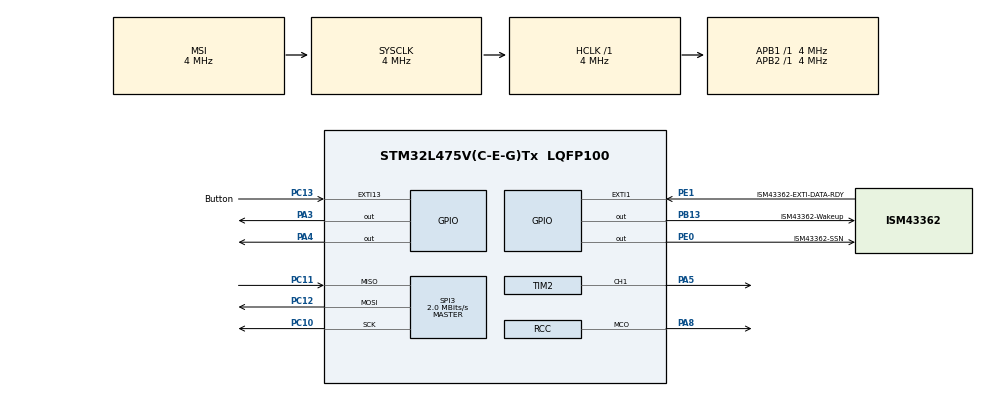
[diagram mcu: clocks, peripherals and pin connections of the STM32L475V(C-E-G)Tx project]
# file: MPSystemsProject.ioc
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Mcu.Family=STM32L4
Mcu.Name=STM32L475V(C-E-G)Tx
Mcu.Package=LQFP100
NVIC.EXTI15_10_IRQn=true\:0\:0\:false\:false\:true\:true\:true
NVIC.EXTI1_IRQn=true\:0\:0\:false\:false\:true\:true\:true
NVIC.PriorityGroup=NVIC_PRIORITYGROUP_4
PA13\ (JTMS-SWDIO).Mode=Serial_Wire
PA13\ (JTMS-SWDIO).Signal=SYS_JTMS-SWDIO
PA14\ (JTCK-SWCLK).Mode=Serial_Wire
PA14\ (JTCK-SWCLK).Signal=SYS_JTCK-SWCLK
PA3.GPIO_PuPd=GPIO_PULLUP
PA3.Signal=GPIO_Output
PA4.GPIO_PuPd=GPIO_PULLUP
PA4.Signal=GPIO_Output
PA5.Signal=S_TIM2_CH1
PA8.Mode=Clock-out
PA8.Signal=RCC_MCO
PB13.GPIO_Label=ISM43362-Wakeup
PB13.Signal=GPIO_Output
PC10.Mode=Full_Duplex_Master
PC10.Signal=SPI3_SCK
PC11.Mode=Full_Duplex_Master
PC11.Signal=SPI3_MISO
PC12.Mode=Full_Duplex_Master
PC12.Signal=SPI3_MOSI
PC13.GPIO_Label=Button
PC13.GPIO_PuPd=GPIO_PULLUP
PC13.Signal=GPXTI13
PE0.GPIO_Label=ISM43362-SSN
PE0.Signal=GPIO_Output
PE1.GPIO_Label=ISM43362-EXTI-DATA-RDY
PE1.GPIO_ModeDefaultEXTI=GPIO_MODE_IT_FALLING
PE1.Signal=GPXTI1
PH0-OSC_IN\ (PH0).Mode=HSE-External-Oscillator
PH0-OSC_IN\ (PH0).Signal=RCC_OSC_IN
PH1-OSC_OUT\ (PH1).Mode=HSE-External-Oscillator
PH1-OSC_OUT\ (PH1).Signal=RCC_OSC_OUT
ProjectManager.HeapSize=0x200
ProjectManager.StackSize=0x400
ProjectManager.TargetToolchain=STM32CubeIDE
RCC.AHBFreq_Value=4000000
RCC.APB1Freq_Value=4000000
RCC.APB1TimFreq_Value=4000000
RCC.APB2Freq_Value=4000000
RCC.APB2TimFreq_Value=4000000
RCC.CortexFreq_Value=4000000
RCC.HCLKFreq_Value=4000000
RCC.HSE_VALUE=8000000
RCC.HSI_VALUE=16000000
RCC.LSE_VALUE=32768
RCC.MSI_VALUE=4000000
RCC.SYSCLKFreq_VALUE=4000000
RCC.VCOOutputFreq_Value=32000000
SH.S_TIM2_CH1.0=TIM2_CH1,PWM Generation1 CH1
SPI3.BaudRatePrescaler=SPI_BAUDRATEPRESCALER_2
SPI3.CalculateBaudRate=2.0 MBits/s
SPI3.DataSize=SPI_DATASIZE_16BIT
SPI3.Direction=SPI_DIRECTION_2LINES
SPI3.Mode=SPI_MODE_MASTER
SPI3.VirtualType=VM_MASTER
TIM2.AutoReloadPreload=TIM_AUTORELOAD_PRELOAD_ENABLE
TIM2.Channel-PWM\ Generation1\ CH1=TIM_CHANNEL_1
TIM2.Period=39999
VP_TIM2_VS_ClockSourceINT.Mode=Internal
board=custom

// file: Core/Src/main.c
/* USER CODE BEGIN Header */
/**
  ******************************************************************************
  * @file           : main.c
  * @brief          : Main program body
  ******************************************************************************
  * @attention
  *
  * <h2><center>&copy; Copyright (c) 2020 STMicroelectronics.
  * All rights reserved.</center></h2>
  *
  * This software component is licensed by ST under BSD 3-Clause license,
  * the "License"; You may not use this file except in compliance with the
  * License. You may obtain a copy of the License at:
  *                        opensource.org/licenses/BSD-3-Clause
  *
  ******************************************************************************
  */
/* USER CODE END Header */
#include "main.h"

/* USER CODE BEGIN Includes */
#include <stdint.h>
#include "Time.h"
#include "WiFi.h"
/* USER CODE END Includes */

/* USER CODE BEGIN PD */
#define BUTTON_DEBOUNCE_TIME_MS MS(100)
/* USER CODE END PD */

SPI_HandleTypeDef hspi3;

TIM_HandleTypeDef htim2;

void SystemClock_Config(void);
static void MX_GPIO_Init(void);
static void MX_SPI3_Init(void);
static void MX_TIM2_Init(void);

/* USER CODE BEGIN 0 */
#define PWM_STEP_NUM 8
int TIM2_CH1_DC[PWM_STEP_NUM] = {1,50,70,90,99,80,60};
int pwm_step_count = 0;

/* USER CODE END 0 */

int main(void)
{

  /* MCU Configuration--------------------------------------------------------*/

  /* Reset of all peripherals, Initializes the Flash interface and the Systick. */
  HAL_Init();

  /* Configure the system clock */
  SystemClock_Config();

  /* USER CODE BEGIN SysInit */
  SysTick_Config(SystemCoreClock/SYSTEM_TICK_US_DEFINITION);
  Time_Init();
  /* USER CODE END SysInit */

  /* Initialize all configured peripherals */
  MX_GPIO_Init();
  MX_SPI3_Init();
  MX_TIM2_Init();
  /* USER CODE BEGIN 2 */
  HAL_TIM_PWM_Start(&htim2, TIM_CHANNEL_1);
  WiFi_Init(&hspi3);

  HAL_GPIO_WritePin(GPIOA, GPIO_PIN_4, GPIO_PIN_SET);
  HAL_GPIO_WritePin(GPIOA, GPIO_PIN_3, GPIO_PIN_RESET);
  Tick blink_timer = GetTime_ms();
  /* USER CODE END 2 */

  /* Infinite loop */
  /* USER CODE BEGIN WHILE */
  while (1)
  {
	  if ((GetTimeSince_ms(blink_timer))>1000)
	  {
		  HAL_GPIO_TogglePin(GPIOA, GPIO_PIN_4);
		  HAL_GPIO_TogglePin(GPIOA, GPIO_PIN_3);
		  blink_timer = GetTime_ms();
		  TIM2->CCR1 = TIM2_CH1_DC[pwm_step_count];
		  pwm_step_count++;
		  pwm_step_count %= PWM_STEP_NUM;
	  }
    /* USER CODE END WHILE */

  }
}

void SystemClock_Config(void)
{
  RCC_OscInitTypeDef RCC_OscInitStruct = {0};
  RCC_ClkInitTypeDef RCC_ClkInitStruct = {0};

  /** Initializes the RCC Oscillators according to the specified parameters
  * in the RCC_OscInitTypeDef structure.
  */
  RCC_OscInitStruct.OscillatorType = RCC_OSCILLATORTYPE_MSI;
  RCC_OscInitStruct.MSIState = RCC_MSI_ON;
  RCC_OscInitStruct.MSICalibrationValue = 0;
  RCC_OscInitStruct.MSIClockRange = RCC_MSIRANGE_6;
  RCC_OscInitStruct.PLL.PLLState = RCC_PLL_NONE;
  if (HAL_RCC_OscConfig(&RCC_OscInitStruct) != HAL_OK)
  {
    Error_Handler();
  }
  /** Initializes the CPU, AHB and APB buses clocks
  */
  RCC_ClkInitStruct.ClockType = RCC_CLOCKTYPE_HCLK|RCC_CLOCKTYPE_SYSCLK
                              |RCC_CLOCKTYPE_PCLK1|RCC_CLOCKTYPE_PCLK2;
  RCC_ClkInitStruct.SYSCLKSource = RCC_SYSCLKSOURCE_MSI;
  RCC_ClkInitStruct.AHBCLKDivider = RCC_SYSCLK_DIV1;
  RCC_ClkInitStruct.APB1CLKDivider = RCC_HCLK_DIV1;
  RCC_ClkInitStruct.APB2CLKDivider = RCC_HCLK_DIV1;

  if (HAL_RCC_ClockConfig(&RCC_ClkInitStruct, FLASH_LATENCY_0) != HAL_OK)
  {
    Error_Handler();
  }
  HAL_RCC_MCOConfig(RCC_MCO1, RCC_MCO1SOURCE_SYSCLK, RCC_MCODIV_1);
  /** Configure the main internal regulator output voltage
  */
  if (HAL_PWREx_ControlVoltageScaling(PWR_REGULATOR_VOLTAGE_SCALE1) != HAL_OK)
  {
    Error_Handler();
  }
}

static void MX_SPI3_Init(void)
{

  /* SPI3 parameter configuration*/
  hspi3.Instance = SPI3;
  hspi3.Init.Mode = SPI_MODE_MASTER;
  hspi3.Init.Direction = SPI_DIRECTION_2LINES;
  hspi3.Init.DataSize = SPI_DATASIZE_16BIT;
  hspi3.Init.CLKPolarity = SPI_POLARITY_LOW;
  hspi3.Init.CLKPhase = SPI_PHASE_1EDGE;
  hspi3.Init.NSS = SPI_NSS_SOFT;
  hspi3.Init.BaudRatePrescaler = SPI_BAUDRATEPRESCALER_2;
  hspi3.Init.FirstBit = SPI_FIRSTBIT_MSB;
  hspi3.Init.TIMode = SPI_TIMODE_DISABLE;
  hspi3.Init.CRCCalculation = SPI_CRCCALCULATION_DISABLE;
  hspi3.Init.CRCPolynomial = 7;
  hspi3.Init.CRCLength = SPI_CRC_LENGTH_DATASIZE;
  hspi3.Init.NSSPMode = SPI_NSS_PULSE_ENABLE;
  if (HAL_SPI_Init(&hspi3) != HAL_OK)
  {
    Error_Handler();
  }

}

static void MX_TIM2_Init(void)
{

  TIM_ClockConfigTypeDef sClockSourceConfig = {0};
  TIM_MasterConfigTypeDef sMasterConfig = {0};
  TIM_OC_InitTypeDef sConfigOC = {0};

  htim2.Instance = TIM2;
  htim2.Init.Prescaler = 0;
  htim2.Init.CounterMode = TIM_COUNTERMODE_UP;
  htim2.Init.Period = 400;
  htim2.Init.ClockDivision = TIM_CLOCKDIVISION_DIV1;
  htim2.Init.AutoReloadPreload = TIM_AUTORELOAD_PRELOAD_ENABLE;
  if (HAL_TIM_Base_Init(&htim2) != HAL_OK)
  {
    Error_Handler();
  }
  sClockSourceConfig.ClockSource = TIM_CLOCKSOURCE_INTERNAL;
  if (HAL_TIM_ConfigClockSource(&htim2, &sClockSourceConfig) != HAL_OK)
  {
    Error_Handler();
  }
  if (HAL_TIM_PWM_Init(&htim2) != HAL_OK)
  {
    Error_Handler();
  }
  sMasterConfig.MasterOutputTrigger = TIM_TRGO_RESET;
  sMasterConfig.MasterSlaveMode = TIM_MASTERSLAVEMODE_DISABLE;
  if (HAL_TIMEx_MasterConfigSynchronization(&htim2, &sMasterConfig) != HAL_OK)
  {
    Error_Handler();
  }
  sConfigOC.OCMode = TIM_OCMODE_PWM1;
  sConfigOC.Pulse = 0;
  sConfigOC.OCPolarity = TIM_OCPOLARITY_HIGH;
  sConfigOC.OCFastMode = TIM_OCFAST_DISABLE;
  if (HAL_TIM_PWM_ConfigChannel(&htim2, &sConfigOC, TIM_CHANNEL_1) != HAL_OK)
  {
    Error_Handler();
  }
  HAL_TIM_MspPostInit(&htim2);

}

static void MX_GPIO_Init(void)
{
  GPIO_InitTypeDef GPIO_InitStruct = {0};

  /* GPIO Ports Clock Enable */
  __HAL_RCC_GPIOE_CLK_ENABLE();
  __HAL_RCC_GPIOC_CLK_ENABLE();
  __HAL_RCC_GPIOH_CLK_ENABLE();
  __HAL_RCC_GPIOA_CLK_ENABLE();
  __HAL_RCC_GPIOB_CLK_ENABLE();
  __HAL_RCC_GPIOD_CLK_ENABLE();

  /*Configure GPIO pin Output Level */
  HAL_GPIO_WritePin(GPIOA, GPIO_PIN_3|GPIO_PIN_4, GPIO_PIN_RESET);

  /*Configure GPIO pin Output Level */
  HAL_GPIO_WritePin(ISM43362_Wakeup_GPIO_Port, ISM43362_Wakeup_Pin, GPIO_PIN_RESET);

  /*Configure GPIO pin Output Level */
  HAL_GPIO_WritePin(ISM43362_SSN_GPIO_Port, ISM43362_SSN_Pin, GPIO_PIN_RESET);

  /*Configure GPIO pins : PE2 PE3 PE4 PE5
                           PE6 PE7 PE8 PE9
                           PE10 PE11 PE12 PE13
                           PE14 PE15 */
  GPIO_InitStruct.Pin = GPIO_PIN_2|GPIO_PIN_3|GPIO_PIN_4|GPIO_PIN_5
                          |GPIO_PIN_6|GPIO_PIN_7|GPIO_PIN_8|GPIO_PIN_9
                          |GPIO_PIN_10|GPIO_PIN_11|GPIO_PIN_12|GPIO_PIN_13
                          |GPIO_PIN_14|GPIO_PIN_15;
  GPIO_InitStruct.Mode = GPIO_MODE_ANALOG;
  GPIO_InitStruct.Pull = GPIO_NOPULL;
  HAL_GPIO_Init(GPIOE, &GPIO_InitStruct);

  /*Configure GPIO pin : Button_Pin */
  GPIO_InitStruct.Pin = Button_Pin;
  GPIO_InitStruct.Mode = GPIO_MODE_IT_RISING;
  GPIO_InitStruct.Pull = GPIO_PULLUP;
  HAL_GPIO_Init(Button_GPIO_Port, &GPIO_InitStruct);

  /*Configure GPIO pins : PC14 PC15 PC0 PC1
                           PC2 PC3 PC4 PC5
                           PC6 PC7 PC8 PC9 */
  GPIO_InitStruct.Pin = GPIO_PIN_14|GPIO_PIN_15|GPIO_PIN_0|GPIO_PIN_1
                          |GPIO_PIN_2|GPIO_PIN_3|GPIO_PIN_4|GPIO_PIN_5
                          |GPIO_PIN_6|GPIO_PIN_7|GPIO_PIN_8|GPIO_PIN_9;
  GPIO_InitStruct.Mode = GPIO_MODE_ANALOG;
  GPIO_InitStruct.Pull = GPIO_NOPULL;
  HAL_GPIO_Init(GPIOC, &GPIO_InitStruct);

  /*Configure GPIO pins : PA0 PA1 PA2 PA6
                           PA7 PA9 PA10 PA11
                           PA12 PA15 */
  GPIO_InitStruct.Pin = GPIO_PIN_0|GPIO_PIN_1|GPIO_PIN_2|GPIO_PIN_6
                          |GPIO_PIN_7|GPIO_PIN_9|GPIO_PIN_10|GPIO_PIN_11
                          |GPIO_PIN_12|GPIO_PIN_15;
  GPIO_InitStruct.Mode = GPIO_MODE_ANALOG;
  GPIO_InitStruct.Pull = GPIO_NOPULL;
  HAL_GPIO_Init(GPIOA, &GPIO_InitStruct);

  /*Configure GPIO pins : PA3 PA4 */
  GPIO_InitStruct.Pin = GPIO_PIN_3|GPIO_PIN_4;
  GPIO_InitStruct.Mode = GPIO_MODE_OUTPUT_PP;
  GPIO_InitStruct.Pull = GPIO_PULLUP;
  GPIO_InitStruct.Speed = GPIO_SPEED_FREQ_LOW;
  HAL_GPIO_Init(GPIOA, &GPIO_InitStruct);

  /*Configure GPIO pins : PB0 PB1 PB2 PB10
                           PB11 PB12 PB14 PB15
                           PB3 PB4 PB5 PB6
                           PB7 PB8 PB9 */
  GPIO_InitStruct.Pin = GPIO_PIN_0|GPIO_PIN_1|GPIO_PIN_2|GPIO_PIN_10
                          |GPIO_PIN_11|GPIO_PIN_12|GPIO_PIN_14|GPIO_PIN_15
                          |GPIO_PIN_3|GPIO_PIN_4|GPIO_PIN_5|GPIO_PIN_6
                          |GPIO_PIN_7|GPIO_PIN_8|GPIO_PIN_9;
  GPIO_InitStruct.Mode = GPIO_MODE_ANALOG;
  GPIO_InitStruct.Pull = GPIO_NOPULL;
  HAL_GPIO_Init(GPIOB, &GPIO_InitStruct);

  /*Configure GPIO pin : ISM43362_Wakeup_Pin */
  GPIO_InitStruct.Pin = ISM43362_Wakeup_Pin;
  GPIO_InitStruct.Mode = GPIO_MODE_OUTPUT_PP;
  GPIO_InitStruct.Pull = GPIO_NOPULL;
  GPIO_InitStruct.Speed = GPIO_SPEED_FREQ_LOW;
  HAL_GPIO_Init(ISM43362_Wakeup_GPIO_Port, &GPIO_InitStruct);

  /*Configure GPIO pins : PD8 PD9 PD10 PD11
                           PD12 PD13 PD14 PD15
                           PD0 PD1 PD2 PD3
                           PD4 PD5 PD6 PD7 */
  GPIO_InitStruct.Pin = GPIO_PIN_8|GPIO_PIN_9|GPIO_PIN_10|GPIO_PIN_11
                          |GPIO_PIN_12|GPIO_PIN_13|GPIO_PIN_14|GPIO_PIN_15
                          |GPIO_PIN_0|GPIO_PIN_1|GPIO_PIN_2|GPIO_PIN_3
                          |GPIO_PIN_4|GPIO_PIN_5|GPIO_PIN_6|GPIO_PIN_7;
  GPIO_InitStruct.Mode = GPIO_MODE_ANALOG;
  GPIO_InitStruct.Pull = GPIO_NOPULL;
  HAL_GPIO_Init(GPIOD, &GPIO_InitStruct);

  /*Configure GPIO pin : PA8 */
  GPIO_InitStruct.Pin = GPIO_PIN_8;
  GPIO_InitStruct.Mode = GPIO_MODE_AF_PP;
  GPIO_InitStruct.Pull = GPIO_NOPULL;
  GPIO_InitStruct.Speed = GPIO_SPEED_FREQ_LOW;
  GPIO_InitStruct.Alternate = GPIO_AF0_MCO;
  HAL_GPIO_Init(GPIOA, &GPIO_InitStruct);

  /*Configure GPIO pin : ISM43362_SSN_Pin */
  GPIO_InitStruct.Pin = ISM43362_SSN_Pin;
  GPIO_InitStruct.Mode = GPIO_MODE_OUTPUT_PP;
  GPIO_InitStruct.Pull = GPIO_NOPULL;
  GPIO_InitStruct.Speed = GPIO_SPEED_FREQ_LOW;
  HAL_GPIO_Init(ISM43362_SSN_GPIO_Port, &GPIO_InitStruct);

  /*Configure GPIO pin : ISM43362_EXTI_DATA_RDY_Pin */
  GPIO_InitStruct.Pin = ISM43362_EXTI_DATA_RDY_Pin;
  GPIO_InitStruct.Mode = GPIO_MODE_IT_FALLING;
  GPIO_InitStruct.Pull = GPIO_NOPULL;
  HAL_GPIO_Init(ISM43362_EXTI_DATA_RDY_GPIO_Port, &GPIO_InitStruct);

  /* EXTI interrupt init*/
  HAL_NVIC_SetPriority(EXTI1_IRQn, 0, 0);
  HAL_NVIC_EnableIRQ(EXTI1_IRQn);

  HAL_NVIC_SetPriority(EXTI15_10_IRQn, 0, 0);
  HAL_NVIC_EnableIRQ(EXTI15_10_IRQn);

}

/* USER CODE BEGIN 4 */
Tick exti_13_callback_time = 0;

void HAL_GPIO_EXTI_Callback(uint16_t GPIO_Pin)
{
	switch (GPIO_Pin)
	{
		case (1<<1):
			WiFi_Recieve();
			break;
		case (1<<13):
			if (GetTimeSince_ms(exti_13_callback_time) > BUTTON_DEBOUNCE_TIME_MS)
			{
				HAL_GPIO_TogglePin(GPIOA, GPIO_PIN_4);
				exti_13_callback_time = GetTime_ms();
			}
			break;
		default:
			break;
	}
}
/* USER CODE END 4 */

void Error_Handler(void)
{
}

/************************ (C) COPYRIGHT STMicroelectronics *****END OF FILE****/
